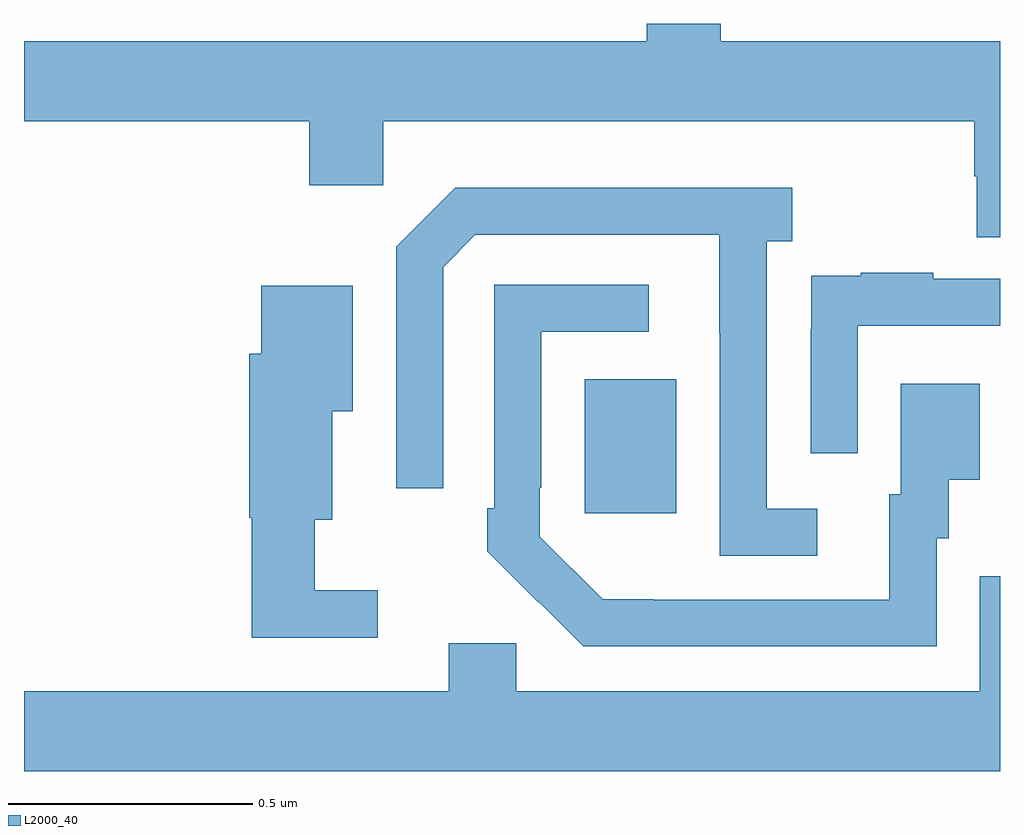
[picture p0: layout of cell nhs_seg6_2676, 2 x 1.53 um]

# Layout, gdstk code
import gdstk
lib = gdstk.Library(unit=1e-6, precision=1e-09)
def R(c, l, rs):  # rectangles x0, y0, x1, y1
    for r in rs: c.add(gdstk.rectangle(r[:2], r[2:], *l))
def P(c, l, *ps):  # polygons
    for p in ps: c.add(gdstk.Polygon(p, *l))
L2000_40 = (2000, 40)

nhs_seg6_2676 = lib.new_cell('nhs_seg6_2676')
R(nhs_seg6_2676, L2000_40, [(147.149,982.497,147.337,982.771)])
P(nhs_seg6_2676, L2000_40, [(148,983.464),(147.428,983.464),(147.428,983.5),(147.276,983.5),(147.276,983.464),(146,983.464),(146,983.3),(146.585,983.3),(146.585,983.169),(146.736,983.169),(146.736,983.3),(147.947,983.3),(147.947,983.187),(147.952,983.187),(147.952,983.062),(148,983.062)],
  [(147.625,982.506),(147.522,982.506),(147.522,983.054),(147.574,983.054),(147.574,983.164),(146.884,983.164),(146.763,983.043),(146.763,982.548),(146.859,982.548),(146.859,983.001),(146.925,983.067),(147.425,983.067),(147.425,982.867),(147.426,982.867),(147.426,982.41),(147.625,982.41)],
  [(147.708,982.881),(148,982.881),(148,982.977),(147.863,982.977),(147.863,982.99),(147.715,982.99),(147.715,982.983),(147.613,982.983),(147.613,982.874),(147.612,982.874),(147.612,982.62),(147.708,982.62)],
  [(147.87,982.446),(147.895,982.446),(147.895,982.565),(147.958,982.565),(147.958,982.762),(147.797,982.762),(147.797,982.536),(147.773,982.536),(147.773,982.32),(147.289,982.32),(147.289,982.321),(147.186,982.321),(147.057,982.449),(147.057,982.549),(147.06,982.549),(147.06,982.869),(147.28,982.869),(147.28,982.965),(146.964,982.965),(146.964,982.507),(146.949,982.507),(146.949,982.419),(147.054,982.314),(147.055,982.315),(147.146,982.224),(147.87,982.224)],
  [(146.725,982.339),(146.596,982.339),(146.596,982.484),(146.632,982.484),(146.632,982.706),(146.674,982.706),(146.674,982.963),(146.486,982.963),(146.486,982.824),(146.462,982.824),(146.462,982.488),(146.467,982.488),(146.467,982.242),(146.725,982.242)],
  [(148,982.368),(147.959,982.368),(147.959,982.132),(147.009,982.132),(147.009,982.23),(146.87,982.23),(146.87,982.132),(146,982.132),(146,981.968),(148,981.968)])

lib.write_gds('nhs_seg6_2676.gds')
